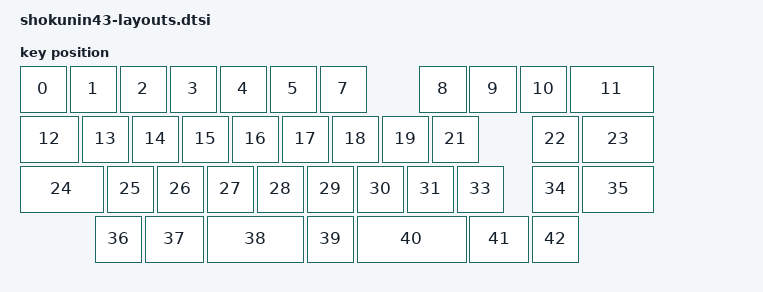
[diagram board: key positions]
// See https://zmk.dev/docs/development/hardware-integration/physical-layouts
// for how to configure this.

#include <physical_layouts.dtsi>

/ {
    default_layout: default_layout {
        compatible = "zmk,physical-layout";
        display-name = "Default Layout";
        transform = <&default_transform>;
        kscan = <&kscan>;

        // Edit this to define the positions and sizes of the keys, or remove it
        // if your keyboard will not support ZMK Studio.
        // https://zmk.dev/docs/development/hardware-integration/physical-layouts#optional-keys-property
        keys  //                     w   h    x    y     rot    rx    ry
            = <&key_physical_attrs 100 100     0   0       0     0     0>
            , <&key_physical_attrs 100 100   100   0       0     0     0>
            , <&key_physical_attrs 100 100   200   0       0     0     0>
            , <&key_physical_attrs 100 100   300   0       0     0     0>
            , <&key_physical_attrs 100 100   400   0       0     0     0>
            , <&key_physical_attrs 100 100   500   0       0     0     0>
            , <&key_physical_attrs 100 100   600   0       0     0     0>
            , <&key_physical_attrs 100 100   600   0       0     0     0>
            , <&key_physical_attrs 100 100   800   0       0     0     0>
            , <&key_physical_attrs 100 100   900   0       0     0     0>
            , <&key_physical_attrs 100 100  1000   0       0     0     0>
            , <&key_physical_attrs 175 100  1100   0       0     0     0>

            , <&key_physical_attrs 125 100     0   100       0     0     0>
            , <&key_physical_attrs 100 100   125   100       0     0     0>
            , <&key_physical_attrs 100 100   225   100       0     0     0>
            , <&key_physical_attrs 100 100   325   100       0     0     0>
            , <&key_physical_attrs 100 100   425   100       0     0     0>
            , <&key_physical_attrs 100 100   525   100       0     0     0>
            , <&key_physical_attrs 100 100   625   100       0     0     0>
            , <&key_physical_attrs 100 100   725   100       0     0     0>
            , <&key_physical_attrs 100 100   825   100       0     0     0>
            , <&key_physical_attrs 100 100   825   100       0     0     0>
            , <&key_physical_attrs 100 100  1025   100       0     0     0>
            , <&key_physical_attrs 150 100  1125   100       0     0     0>

            = <&key_physical_attrs 175 100     0   200       0     0     0>
            , <&key_physical_attrs 100 100   175   200       0     0     0>
            , <&key_physical_attrs 100 100   275   200       0     0     0>
            , <&key_physical_attrs 100 100   375   200       0     0     0>
            , <&key_physical_attrs 100 100   475   200       0     0     0>
            , <&key_physical_attrs 100 100   575   200       0     0     0>
            , <&key_physical_attrs 100 100   675   200       0     0     0>
            , <&key_physical_attrs 100 100   775   200       0     0     0>
            , <&key_physical_attrs 100 100   875   200       0     0     0>
            , <&key_physical_attrs 100 100   875   200       0     0     0>
            , <&key_physical_attrs 100 100  1025   200       0     0     0>
            , <&key_physical_attrs 150 100  1125   200       0     0     0>

            , <&key_physical_attrs 100 100  150   300       0     0     0>
            , <&key_physical_attrs 125 100  250   300       0     0     0>
            , <&key_physical_attrs 200 100  375   300       0     0     0>
            , <&key_physical_attrs 100 100  575   300       0     0     0>
            , <&key_physical_attrs 225 100  675   300       0     0     0>
            , <&key_physical_attrs 125 100  900   300       0     0     0>
            , <&key_physical_attrs 100 100  1025  300       0     0     0>

            ;
    };
};
